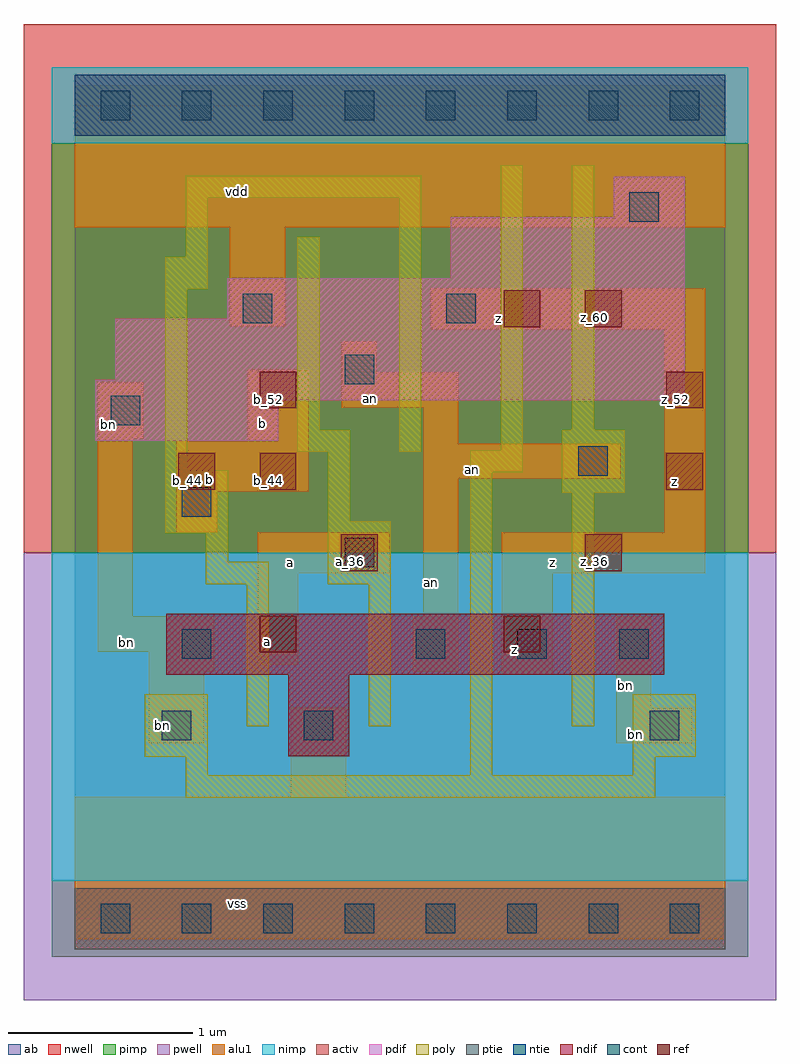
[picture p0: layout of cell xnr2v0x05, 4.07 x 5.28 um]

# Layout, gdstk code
import gdstk
lib = gdstk.Library(unit=1e-6, precision=2.5e-09)
def R(c, l, rs):  # rectangles x0, y0, x1, y1
    for r in rs: c.add(gdstk.rectangle(r[:2], r[2:], *l))
def A(c, l, x, y, w, h, nx, ny, dx, dy):  # array of equal rectangles
    R(c, l, [(x+i*dx, y+j*dy, x+i*dx+w, y+j*dy+h) for i in range(nx) for j in range(ny)])
ndif = (3, 0)
pdif = (4, 0)
ntie = (5, 0)
ptie = (6, 0)
ref = (24, 0)
cont = (25, 0)
pwell = (41, 0)
nwell = (42, 0)
activ = (43, 0)
pimp = (44, 0)
nimp = (45, 0)
poly = (46, 0)
alu1 = (49, 0)
ab = (63, 0)

xnr2v0x05 = lib.new_cell('xnr2v0x05')
R(xnr2v0x05, ndif, [(1.155,0.88,1.485,1.32), (0.495,1.32,3.19,1.65)])
R(xnr2v0x05, pdif, [(0.11,2.585,1.1,2.805), (0.11,2.805,3.3,2.915), (0.22,2.915,3.3,3.245), (0.825,3.245,3.3,3.465), (2.035,3.465,3.3,3.795), (2.915,3.795,3.3,4.015)])
R(xnr2v0x05, ntie, [(0,4.235,3.52,4.565)])
R(xnr2v0x05, ptie, [(0,-0.165,3.52,0.165)])
R(xnr2v0x05, ref, [(1,1.44,1.2,1.64), (2.32,1.44,2.52,1.64), (1.44,1.88,1.64,2.08), (2.76,1.88,2.96,2.08), (0.56,2.32,0.76,2.52), (1,2.32,1.2,2.52), (3.2,2.32,3.4,2.52), (1,2.76,1.2,2.96), (3.2,2.76,3.4,2.96), (2.32,3.2,2.52,3.4), (2.76,3.2,2.96,3.4)])
A(xnr2v0x05, cont, 0.14, -0.08, 0.16, 0.16, 8, 2, 0.44, 4.4)
A(xnr2v0x05, cont, 1.845, 1.405, 0.16, 0.16, 3, 1, 0.55, 0)
R(xnr2v0x05, cont, [(0.47,0.965,0.63,1.125), (1.24,0.965,1.4,1.125), (3.11,0.965,3.27,1.125), (0.58,1.405,0.74,1.565), (1.46,1.9,1.62,2.06), (0.58,2.175,0.74,2.335), (2.725,2.395,2.885,2.555), (0.195,2.67,0.355,2.83), (1.46,2.89,1.62,3.05), (0.91,3.22,1.07,3.38), (2.01,3.22,2.17,3.38), (3,3.77,3.16,3.93)])
R(xnr2v0x05, pwell, [(-0.275,-0.44,3.795,1.98)])
R(xnr2v0x05, nwell, [(-0.275,1.98,3.795,4.84)])
R(xnr2v0x05, activ, [(0,-0.165,3.52,0.165), (1.155,0.88,1.485,1.32), (0.495,1.32,3.19,1.65), (0.11,2.585,1.1,2.805), (0.11,2.805,3.3,2.915), (0.22,2.915,3.3,3.245), (0.825,3.245,3.3,3.465), (2.035,3.465,3.3,3.795), (2.915,3.795,3.3,4.015), (0,4.235,3.52,4.565)])
R(xnr2v0x05, pimp, [(-0.125,-0.205,3.645,0.205), (-0.125,1.98,3.645,4.195)])
R(xnr2v0x05, nimp, [(-0.125,0.205,3.645,1.98), (-0.125,4.195,3.645,4.605)])
R(xnr2v0x05, poly, [(0.6,0.655,3.14,0.775), (0.6,0.775,0.72,0.875), (2.14,0.775,2.26,2.415), (3.02,0.775,3.14,0.875), (0.38,0.875,0.72,1.215), (3.02,0.875,3.36,1.215), (0.93,1.04,1.05,1.81), (1.59,1.04,1.71,1.81), (2.69,1.04,2.81,2.305), (0.71,1.81,1.05,1.93), (1.37,1.81,1.71,2.15), (0.71,1.93,0.83,2.085), (0.49,2.085,0.83,2.425), (1.37,2.15,1.49,2.525), (2.635,2.305,2.975,2.645), (2.14,2.415,2.425,2.535), (0.49,2.425,0.61,3.405), (1.205,2.525,1.49,2.645), (1.755,2.525,1.875,3.9), (2.305,2.535,2.425,4.075), (1.205,2.645,1.325,3.69), (2.69,2.645,2.81,4.075), (0.49,3.405,0.72,3.58), (0.6,3.58,0.72,3.9), (0.6,3.9,1.875,4.02)])
R(xnr2v0x05, alu1, [(0,-0.11,3.52,0.66), (1.17,0.66,1.47,1.14), (0.4,0.95,0.7,1.335), (2.93,0.95,3.34,1.14), (2.93,1.14,3.12,1.635), (2.31,1.32,2.585,1.87), (0.4,1.335,0.755,1.445), (1.83,1.335,2.075,1.635), (0.99,1.375,1.21,1.87), (0.125,1.445,0.755,1.635), (0.125,1.635,0.315,2.6), (1.885,1.635,2.075,2.38), (0.99,1.87,1.705,2.09), (2.31,1.87,3.41,2.09), (0.55,2.09,0.77,2.31), (3.19,2.09,3.41,3.19), (0.55,2.31,1.265,2.585), (1.885,2.38,2.955,2.57), (1.885,2.57,2.075,2.765), (0.935,2.585,1.265,2.97), (0.125,2.6,0.37,2.9), (1.445,2.765,2.075,2.955), (1.445,2.955,1.635,3.12), (1.925,3.19,3.41,3.41), (0.84,3.205,1.14,3.74), (0,3.74,3.52,4.51)])
R(xnr2v0x05, ab, [(0,0,3.52,4.4)])
xnr2v0x05.add(gdstk.Label('vss', (0.88,0.0825), layer=49, texttype=0))
xnr2v0x05.add(gdstk.Label('bn', (3.0325,0.9975), layer=49, texttype=0))
xnr2v0x05.add(gdstk.Label('bn', (2.9775,1.2625), layer=49, texttype=0))
xnr2v0x05.add(gdstk.Label('z', (2.3775,1.4575), layer=49, texttype=0))
xnr2v0x05.add(gdstk.Label('bn', (0.475,1.045), layer=49, texttype=0))
xnr2v0x05.add(gdstk.Label('z', (2.585,1.925), layer=49, texttype=0))
xnr2v0x05.add(gdstk.Label('z', (3.245,2.365), layer=49, texttype=0))
xnr2v0x05.add(gdstk.Label('an', (1.9325,1.82), layer=49, texttype=0))
xnr2v0x05.add(gdstk.Label('a', (1.045,1.4975), layer=49, texttype=0))
xnr2v0x05.add(gdstk.Label('bn', (0.2825,1.4925), layer=49, texttype=0))
xnr2v0x05.add(gdstk.Label('a', (1.1675,1.925), layer=49, texttype=0))
xnr2v0x05.add(gdstk.Label('an', (2.1525,2.4275), layer=49, texttype=0))
xnr2v0x05.add(gdstk.Label('b', (0.7275,2.3775), layer=49, texttype=0))
xnr2v0x05.add(gdstk.Label('an', (1.6025,2.8125), layer=49, texttype=0))
xnr2v0x05.add(gdstk.Label('b', (1.0175,2.68), layer=49, texttype=0))
xnr2v0x05.add(gdstk.Label('bn', (0.185,2.675), layer=49, texttype=0))
xnr2v0x05.add(gdstk.Label('z', (2.295,3.245), layer=49, texttype=0))
xnr2v0x05.add(gdstk.Label('vdd', (0.88,3.9325), layer=49, texttype=0))
xnr2v0x05.add(gdstk.Label('z_60', (2.37,3.25), layer=24, texttype=0))
xnr2v0x05.add(gdstk.Label('z_36', (2.81,1.93), layer=24, texttype=0))
xnr2v0x05.add(gdstk.Label('a_36', (1.49,1.93), layer=24, texttype=0))
xnr2v0x05.add(gdstk.Label('a_28', (1.05,1.49), layer=24, texttype=0))
xnr2v0x05.add(gdstk.Label('b_44', (0.61,2.37), layer=24, texttype=0))
xnr2v0x05.add(gdstk.Label('b_52', (1.05,2.81), layer=24, texttype=0))
xnr2v0x05.add(gdstk.Label('z_44', (3.25,2.37), layer=24, texttype=0))
xnr2v0x05.add(gdstk.Label('z_28', (2.37,1.49), layer=24, texttype=0))
xnr2v0x05.add(gdstk.Label('b_44', (1.05,2.37), layer=24, texttype=0))
xnr2v0x05.add(gdstk.Label('z_60', (2.81,3.25), layer=24, texttype=0))
xnr2v0x05.add(gdstk.Label('z_52', (3.25,2.81), layer=24, texttype=0))

lib.write_gds('xnr2v0x05.gds')
